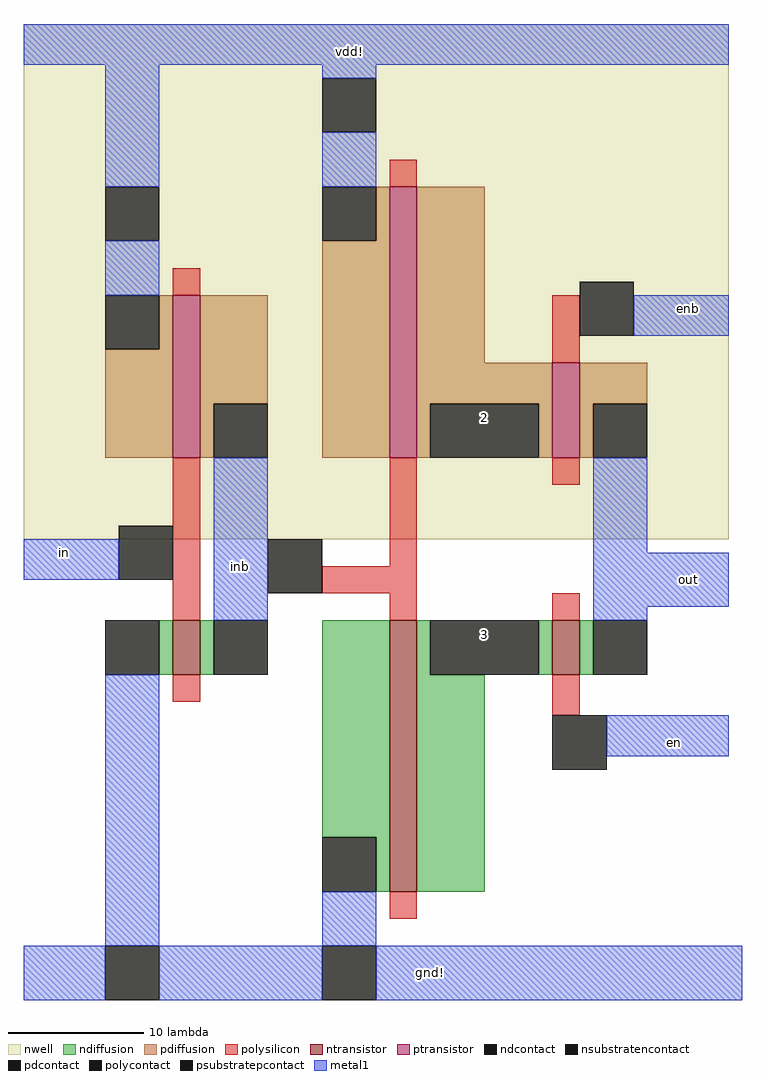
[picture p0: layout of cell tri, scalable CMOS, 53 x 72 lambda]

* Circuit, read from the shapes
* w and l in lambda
.subckt tri 2 3 en enb gnd! in inb out vdd!
M1 inb in gnd! gnd! nfet w=4 l=2
M2 3 inb gnd! gnd! nfet w=20 l=2
M3 out en 3 gnd! nfet w=4 l=2
M4 inb in vdd! vdd! pfet w=12 l=2
M5 2 inb vdd! vdd! pfet w=20 l=2
M6 out enb 2 vdd! pfet w=7 l=2
.ends

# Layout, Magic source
magic
tech scmos
<< nwell >>
rect -1053 13 -1001 51
<< ntransistor >>
rect -1042 3 -1040 7
rect -1026 -13 -1024 7
rect -1014 3 -1012 7
<< ptransistor >>
rect -1042 19 -1040 31
rect -1026 19 -1024 39
rect -1014 19 -1012 26
<< ndiffusion >>
rect -1043 3 -1042 7
rect -1040 3 -1039 7
rect -1031 -9 -1026 7
rect -1027 -13 -1026 -9
rect -1024 3 -1023 7
rect -1015 3 -1014 7
rect -1012 3 -1011 7
rect -1024 -13 -1019 3
<< pdiffusion >>
rect -1027 35 -1026 39
rect -1043 27 -1042 31
rect -1047 19 -1042 27
rect -1040 23 -1035 31
rect -1040 19 -1039 23
rect -1031 19 -1026 35
rect -1024 26 -1019 39
rect -1024 23 -1014 26
rect -1024 19 -1023 23
rect -1015 19 -1014 23
rect -1012 23 -1007 26
rect -1012 19 -1011 23
<< ndcontact >>
rect -1047 3 -1043 7
rect -1039 3 -1035 7
rect -1031 -13 -1027 -9
rect -1023 3 -1015 7
rect -1011 3 -1007 7
<< pdcontact >>
rect -1031 35 -1027 39
rect -1047 27 -1043 31
rect -1039 19 -1035 23
rect -1023 19 -1015 23
rect -1011 19 -1007 23
<< psubstratepcontact >>
rect -1047 -21 -1043 -17
rect -1031 -21 -1027 -17
<< nsubstratencontact >>
rect -1031 43 -1027 47
rect -1047 35 -1043 39
<< polysilicon >>
rect -1026 39 -1024 41
rect -1042 31 -1040 33
rect -1014 26 -1012 31
rect -1042 7 -1040 19
rect -1026 11 -1024 19
rect -1014 17 -1012 19
rect -1031 9 -1024 11
rect -1026 7 -1024 9
rect -1014 7 -1012 9
rect -1042 1 -1040 3
rect -1014 0 -1012 3
rect -1026 -15 -1024 -13
<< polycontact >>
rect -1012 28 -1008 32
rect -1046 10 -1042 14
rect -1035 9 -1031 13
rect -1014 -4 -1010 0
<< metal1 >>
rect -1053 48 -1001 51
rect -1047 39 -1043 48
rect -1031 47 -1027 48
rect -1031 39 -1027 43
rect -1047 31 -1043 35
rect -1008 28 -1001 31
rect -1053 10 -1046 13
rect -1039 7 -1035 19
rect -1011 12 -1007 19
rect -1011 8 -1001 12
rect -1011 7 -1007 8
rect -1047 -17 -1043 3
rect -1010 -3 -1001 0
rect -1031 -17 -1027 -13
rect -1053 -21 -1047 -17
rect -1043 -21 -1031 -17
rect -1027 -21 -1000 -17
<< labels >>
rlabel metal1 -1029 49 -1029 49 5 vdd!
rlabel metal1 -1023 -19 -1023 -19 1 gnd!
rlabel metal1 -1050 12 -1050 12 3 in
rlabel metal1 -1037 11 -1037 11 1 inb
rlabel pdcontact -1019 22 -1019 22 1 2
rlabel ndcontact -1019 6 -1019 6 1 3
rlabel metal1 -1005 -2 -1005 -2 7 en
rlabel metal1 -1004 30 -1004 30 7 enb
rlabel metal1 -1004 10 -1004 10 7 out
<< end >>
